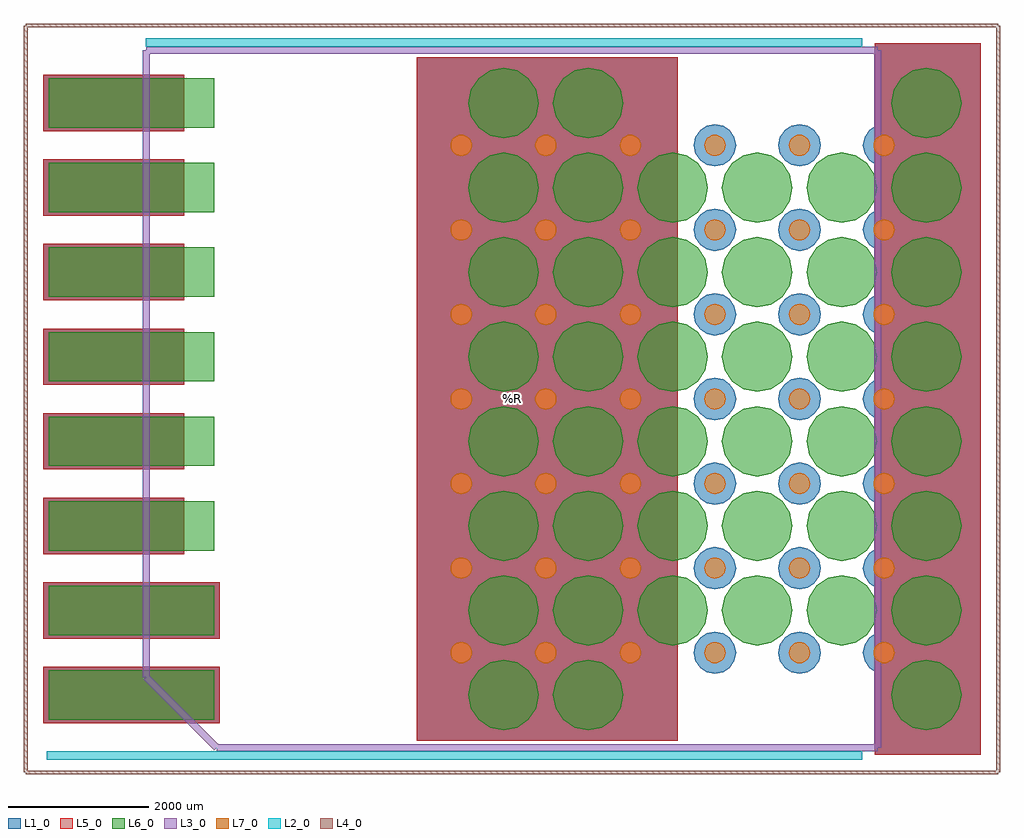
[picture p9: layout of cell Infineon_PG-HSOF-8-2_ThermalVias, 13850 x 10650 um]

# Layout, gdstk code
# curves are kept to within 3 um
import gdstk
lib = gdstk.Library(unit=1e-6, precision=1e-09)
def R(c, l, rs):  # rectangles x0, y0, x1, y1
    for r in rs: c.add(gdstk.rectangle(r[:2], r[2:], *l))
def A(c, l, x, y, w, h, nx, ny, dx, dy):  # array of equal rectangles
    R(c, l, [(x+i*dx, y+j*dy, x+i*dx+w, y+j*dy+h) for i in range(nx) for j in range(ny)])
def P(c, l, *ps):  # polygons
    for p in ps: c.add(gdstk.Polygon(p, *l))
L1_0 = (1, 0)
L2_0 = (2, 0)
L3_0 = (3, 0)
L4_0 = (4, 0)
L5_0 = (5, 0)
L6_0 = (6, 0)
L7_0 = (7, 0)

infineon_pg_hsof_8_2_the = lib.new_cell('Infineon_PG-HSOF-8-2_ThermalVias')
A(infineon_pg_hsof_8_2_the, L1_0, -6650, -2200, 2000, 800, 1, 6, 0, 1200)
R(infineon_pg_hsof_8_2_the, L1_0, [(5150,-5050,6650,5050), (5150,-5050,6650,5050), (-1350,-4850,2350,4850), (-1350,-4850,2350,4850), (-6650,-4600,-4150,-3800), (-6650,-3400,-4150,-2600)])
P(infineon_pg_hsof_8_2_the, L1_0, [(5580,0),(5557,115),(5492,212),(5395,277),(5280,300),(5165,277),(5068,212),(5003,115),(4980,0),(5003,-115),(5068,-212),(5165,-277),(5280,-300),(5395,-277),(5492,-212),(5557,-115)],
  [(4380,0),(4357,115),(4292,212),(4195,277),(4080,300),(3965,277),(3868,212),(3803,115),(3780,0),(3803,-115),(3868,-212),(3965,-277),(4080,-300),(4195,-277),(4292,-212),(4357,-115)],
  [(-420,1200),(-443,1315),(-508,1412),(-605,1477),(-720,1500),(-835,1477),(-932,1412),(-997,1315),(-1020,1200),(-997,1085),(-932,988),(-835,923),(-720,900),(-605,923),(-508,988),(-443,1085)],
  [(1980,1200),(1957,1315),(1892,1412),(1795,1477),(1680,1500),(1565,1477),(1468,1412),(1403,1315),(1380,1200),(1403,1085),(1468,988),(1565,923),(1680,900),(1795,923),(1892,988),(1957,1085)],
  [(780,1200),(757,1315),(692,1412),(595,1477),(480,1500),(365,1477),(268,1412),(203,1315),(180,1200),(203,1085),(268,988),(365,923),(480,900),(595,923),(692,988),(757,1085)],
  [(1980,2400),(1957,2515),(1892,2612),(1795,2677),(1680,2700),(1565,2677),(1468,2612),(1403,2515),(1380,2400),(1403,2285),(1468,2188),(1565,2123),(1680,2100),(1795,2123),(1892,2188),(1957,2285)],
  [(5580,3600),(5557,3715),(5492,3812),(5395,3877),(5280,3900),(5165,3877),(5068,3812),(5003,3715),(4980,3600),(5003,3485),(5068,3388),(5165,3323),(5280,3300),(5395,3323),(5492,3388),(5557,3485)],
  [(4380,1200),(4357,1315),(4292,1412),(4195,1477),(4080,1500),(3965,1477),(3868,1412),(3803,1315),(3780,1200),(3803,1085),(3868,988),(3965,923),(4080,900),(4195,923),(4292,988),(4357,1085)],
  [(3180,2400),(3157,2515),(3092,2612),(2995,2677),(2880,2700),(2765,2677),(2668,2612),(2603,2515),(2580,2400),(2603,2285),(2668,2188),(2765,2123),(2880,2100),(2995,2123),(3092,2188),(3157,2285)],
  [(4380,2400),(4357,2515),(4292,2612),(4195,2677),(4080,2700),(3965,2677),(3868,2612),(3803,2515),(3780,2400),(3803,2285),(3868,2188),(3965,2123),(4080,2100),(4195,2123),(4292,2188),(4357,2285)],
  [(4380,3600),(4357,3715),(4292,3812),(4195,3877),(4080,3900),(3965,3877),(3868,3812),(3803,3715),(3780,3600),(3803,3485),(3868,3388),(3965,3323),(4080,3300),(4195,3323),(4292,3388),(4357,3485)],
  [(3180,1200),(3157,1315),(3092,1412),(2995,1477),(2880,1500),(2765,1477),(2668,1412),(2603,1315),(2580,1200),(2603,1085),(2668,988),(2765,923),(2880,900),(2995,923),(3092,988),(3157,1085)],
  [(3180,3600),(3157,3715),(3092,3812),(2995,3877),(2880,3900),(2765,3877),(2668,3812),(2603,3715),(2580,3600),(2603,3485),(2668,3388),(2765,3323),(2880,3300),(2995,3323),(3092,3388),(3157,3485)],
  [(5580,2400),(5557,2515),(5492,2612),(5395,2677),(5280,2700),(5165,2677),(5068,2612),(5003,2515),(4980,2400),(5003,2285),(5068,2188),(5165,2123),(5280,2100),(5395,2123),(5492,2188),(5557,2285)],
  [(5580,1200),(5557,1315),(5492,1412),(5395,1477),(5280,1500),(5165,1477),(5068,1412),(5003,1315),(4980,1200),(5003,1085),(5068,988),(5165,923),(5280,900),(5395,923),(5492,988),(5557,1085)],
  [(-420,3600),(-443,3715),(-508,3812),(-605,3877),(-720,3900),(-835,3877),(-932,3812),(-997,3715),(-1020,3600),(-997,3485),(-932,3388),(-835,3323),(-720,3300),(-605,3323),(-508,3388),(-443,3485)],
  [(-420,2400),(-443,2515),(-508,2612),(-605,2677),(-720,2700),(-835,2677),(-932,2612),(-997,2515),(-1020,2400),(-997,2285),(-932,2188),(-835,2123),(-720,2100),(-605,2123),(-508,2188),(-443,2285)],
  [(780,2400),(757,2515),(692,2612),(595,2677),(480,2700),(365,2677),(268,2612),(203,2515),(180,2400),(203,2285),(268,2188),(365,2123),(480,2100),(595,2123),(692,2188),(757,2285)],
  [(780,3600),(757,3715),(692,3812),(595,3877),(480,3900),(365,3877),(268,3812),(203,3715),(180,3600),(203,3485),(268,3388),(365,3323),(480,3300),(595,3323),(692,3388),(757,3485)],
  [(1980,3600),(1957,3715),(1892,3812),(1795,3877),(1680,3900),(1565,3877),(1468,3812),(1403,3715),(1380,3600),(1403,3485),(1468,3388),(1565,3323),(1680,3300),(1795,3323),(1892,3388),(1957,3485)],
  [(3180,0),(3157,115),(3092,212),(2995,277),(2880,300),(2765,277),(2668,212),(2603,115),(2580,0),(2603,-115),(2668,-212),(2765,-277),(2880,-300),(2995,-277),(3092,-212),(3157,-115)],
  [(1980,0),(1957,115),(1892,212),(1795,277),(1680,300),(1565,277),(1468,212),(1403,115),(1380,0),(1403,-115),(1468,-212),(1565,-277),(1680,-300),(1795,-277),(1892,-212),(1957,-115)],
  [(-420,0),(-443,115),(-508,212),(-605,277),(-720,300),(-835,277),(-932,212),(-997,115),(-1020,0),(-997,-115),(-932,-212),(-835,-277),(-720,-300),(-605,-277),(-508,-212),(-443,-115)],
  [(780,0),(757,115),(692,212),(595,277),(480,300),(365,277),(268,212),(203,115),(180,0),(203,-115),(268,-212),(365,-277),(480,-300),(595,-277),(692,-212),(757,-115)],
  [(4380,-1200),(4357,-1085),(4292,-988),(4195,-923),(4080,-900),(3965,-923),(3868,-988),(3803,-1085),(3780,-1200),(3803,-1315),(3868,-1412),(3965,-1477),(4080,-1500),(4195,-1477),(4292,-1412),(4357,-1315)],
  [(5580,-1200),(5557,-1085),(5492,-988),(5395,-923),(5280,-900),(5165,-923),(5068,-988),(5003,-1085),(4980,-1200),(5003,-1315),(5068,-1412),(5165,-1477),(5280,-1500),(5395,-1477),(5492,-1412),(5557,-1315)],
  [(1980,-1200),(1957,-1085),(1892,-988),(1795,-923),(1680,-900),(1565,-923),(1468,-988),(1403,-1085),(1380,-1200),(1403,-1315),(1468,-1412),(1565,-1477),(1680,-1500),(1795,-1477),(1892,-1412),(1957,-1315)],
  [(3180,-1200),(3157,-1085),(3092,-988),(2995,-923),(2880,-900),(2765,-923),(2668,-988),(2603,-1085),(2580,-1200),(2603,-1315),(2668,-1412),(2765,-1477),(2880,-1500),(2995,-1477),(3092,-1412),(3157,-1315)],
  [(780,-1200),(757,-1085),(692,-988),(595,-923),(480,-900),(365,-923),(268,-988),(203,-1085),(180,-1200),(203,-1315),(268,-1412),(365,-1477),(480,-1500),(595,-1477),(692,-1412),(757,-1315)],
  [(-420,-1200),(-443,-1085),(-508,-988),(-605,-923),(-720,-900),(-835,-923),(-932,-988),(-997,-1085),(-1020,-1200),(-997,-1315),(-932,-1412),(-835,-1477),(-720,-1500),(-605,-1477),(-508,-1412),(-443,-1315)],
  [(780,-2400),(757,-2285),(692,-2188),(595,-2123),(480,-2100),(365,-2123),(268,-2188),(203,-2285),(180,-2400),(203,-2515),(268,-2612),(365,-2677),(480,-2700),(595,-2677),(692,-2612),(757,-2515)],
  [(-420,-2400),(-443,-2285),(-508,-2188),(-605,-2123),(-720,-2100),(-835,-2123),(-932,-2188),(-997,-2285),(-1020,-2400),(-997,-2515),(-932,-2612),(-835,-2677),(-720,-2700),(-605,-2677),(-508,-2612),(-443,-2515)],
  [(1980,-2400),(1957,-2285),(1892,-2188),(1795,-2123),(1680,-2100),(1565,-2123),(1468,-2188),(1403,-2285),(1380,-2400),(1403,-2515),(1468,-2612),(1565,-2677),(1680,-2700),(1795,-2677),(1892,-2612),(1957,-2515)],
  [(3180,-2400),(3157,-2285),(3092,-2188),(2995,-2123),(2880,-2100),(2765,-2123),(2668,-2188),(2603,-2285),(2580,-2400),(2603,-2515),(2668,-2612),(2765,-2677),(2880,-2700),(2995,-2677),(3092,-2612),(3157,-2515)],
  [(4380,-2400),(4357,-2285),(4292,-2188),(4195,-2123),(4080,-2100),(3965,-2123),(3868,-2188),(3803,-2285),(3780,-2400),(3803,-2515),(3868,-2612),(3965,-2677),(4080,-2700),(4195,-2677),(4292,-2612),(4357,-2515)],
  [(5580,-2400),(5557,-2285),(5492,-2188),(5395,-2123),(5280,-2100),(5165,-2123),(5068,-2188),(5003,-2285),(4980,-2400),(5003,-2515),(5068,-2612),(5165,-2677),(5280,-2700),(5395,-2677),(5492,-2612),(5557,-2515)],
  [(1980,-3600),(1957,-3485),(1892,-3388),(1795,-3323),(1680,-3300),(1565,-3323),(1468,-3388),(1403,-3485),(1380,-3600),(1403,-3715),(1468,-3812),(1565,-3877),(1680,-3900),(1795,-3877),(1892,-3812),(1957,-3715)],
  [(-420,-3600),(-443,-3485),(-508,-3388),(-605,-3323),(-720,-3300),(-835,-3323),(-932,-3388),(-997,-3485),(-1020,-3600),(-997,-3715),(-932,-3812),(-835,-3877),(-720,-3900),(-605,-3877),(-508,-3812),(-443,-3715)],
  [(780,-3600),(757,-3485),(692,-3388),(595,-3323),(480,-3300),(365,-3323),(268,-3388),(203,-3485),(180,-3600),(203,-3715),(268,-3812),(365,-3877),(480,-3900),(595,-3877),(692,-3812),(757,-3715)],
  [(3180,-3600),(3157,-3485),(3092,-3388),(2995,-3323),(2880,-3300),(2765,-3323),(2668,-3388),(2603,-3485),(2580,-3600),(2603,-3715),(2668,-3812),(2765,-3877),(2880,-3900),(2995,-3877),(3092,-3812),(3157,-3715)],
  [(5580,-3600),(5557,-3485),(5492,-3388),(5395,-3323),(5280,-3300),(5165,-3323),(5068,-3388),(5003,-3485),(4980,-3600),(5003,-3715),(5068,-3812),(5165,-3877),(5280,-3900),(5395,-3877),(5492,-3812),(5557,-3715)],
  [(4380,-3600),(4357,-3485),(4292,-3388),(4195,-3323),(4080,-3300),(3965,-3323),(3868,-3388),(3803,-3485),(3780,-3600),(3803,-3715),(3868,-3812),(3965,-3877),(4080,-3900),(4195,-3877),(4292,-3812),(4357,-3715)])
A(infineon_pg_hsof_8_2_the, L5_0, -6650, -2200, 2000, 800, 1, 6, 0, 1200)
R(infineon_pg_hsof_8_2_the, L5_0, [(5150,-5050,6650,5050), (-1350,-4850,2350,4850), (-6650,-4600,-4150,-3800), (-6650,-3400,-4150,-2600)])
A(infineon_pg_hsof_8_2_the, L6_0, -6575, -4550, 2350, 700, 1, 8, 0, 1200)
P(infineon_pg_hsof_8_2_the, L6_0, [(380,-4200),(342,-4009),(234,-3846),(71,-3738),(-120,-3700),(-311,-3738),(-474,-3846),(-582,-4009),(-620,-4200),(-582,-4391),(-474,-4554),(-311,-4662),(-120,-4700),(71,-4662),(234,-4554),(342,-4391)],
  [(1580,-4200),(1542,-4009),(1434,-3846),(1271,-3738),(1080,-3700),(889,-3738),(726,-3846),(618,-4009),(580,-4200),(618,-4391),(726,-4554),(889,-4662),(1080,-4700),(1271,-4662),(1434,-4554),(1542,-4391)],
  [(6380,-4200),(6342,-4009),(6234,-3846),(6071,-3738),(5880,-3700),(5689,-3738),(5526,-3846),(5418,-4009),(5380,-4200),(5418,-4391),(5526,-4554),(5689,-4662),(5880,-4700),(6071,-4662),(6234,-4554),(6342,-4391)],
  [(380,-3000),(342,-2809),(234,-2646),(71,-2538),(-120,-2500),(-311,-2538),(-474,-2646),(-582,-2809),(-620,-3000),(-582,-3191),(-474,-3354),(-311,-3462),(-120,-3500),(71,-3462),(234,-3354),(342,-3191)],
  [(1580,-3000),(1542,-2809),(1434,-2646),(1271,-2538),(1080,-2500),(889,-2538),(726,-2646),(618,-2809),(580,-3000),(618,-3191),(726,-3354),(889,-3462),(1080,-3500),(1271,-3462),(1434,-3354),(1542,-3191)],
  [(2780,-3000),(2742,-2809),(2634,-2646),(2471,-2538),(2280,-2500),(2089,-2538),(1926,-2646),(1818,-2809),(1780,-3000),(1818,-3191),(1926,-3354),(2089,-3462),(2280,-3500),(2471,-3462),(2634,-3354),(2742,-3191)],
  [(3980,-3000),(3942,-2809),(3834,-2646),(3671,-2538),(3480,-2500),(3289,-2538),(3126,-2646),(3018,-2809),(2980,-3000),(3018,-3191),(3126,-3354),(3289,-3462),(3480,-3500),(3671,-3462),(3834,-3354),(3942,-3191)],
  [(5180,-3000),(5142,-2809),(5034,-2646),(4871,-2538),(4680,-2500),(4489,-2538),(4326,-2646),(4218,-2809),(4180,-3000),(4218,-3191),(4326,-3354),(4489,-3462),(4680,-3500),(4871,-3462),(5034,-3354),(5142,-3191)],
  [(6380,-3000),(6342,-2809),(6234,-2646),(6071,-2538),(5880,-2500),(5689,-2538),(5526,-2646),(5418,-2809),(5380,-3000),(5418,-3191),(5526,-3354),(5689,-3462),(5880,-3500),(6071,-3462),(6234,-3354),(6342,-3191)],
  [(380,-1800),(342,-1609),(234,-1446),(71,-1338),(-120,-1300),(-311,-1338),(-474,-1446),(-582,-1609),(-620,-1800),(-582,-1991),(-474,-2154),(-311,-2262),(-120,-2300),(71,-2262),(234,-2154),(342,-1991)],
  [(1580,-1800),(1542,-1609),(1434,-1446),(1271,-1338),(1080,-1300),(889,-1338),(726,-1446),(618,-1609),(580,-1800),(618,-1991),(726,-2154),(889,-2262),(1080,-2300),(1271,-2262),(1434,-2154),(1542,-1991)],
  [(2780,-1800),(2742,-1609),(2634,-1446),(2471,-1338),(2280,-1300),(2089,-1338),(1926,-1446),(1818,-1609),(1780,-1800),(1818,-1991),(1926,-2154),(2089,-2262),(2280,-2300),(2471,-2262),(2634,-2154),(2742,-1991)],
  [(3980,-1800),(3942,-1609),(3834,-1446),(3671,-1338),(3480,-1300),(3289,-1338),(3126,-1446),(3018,-1609),(2980,-1800),(3018,-1991),(3126,-2154),(3289,-2262),(3480,-2300),(3671,-2262),(3834,-2154),(3942,-1991)],
  [(5180,-1800),(5142,-1609),(5034,-1446),(4871,-1338),(4680,-1300),(4489,-1338),(4326,-1446),(4218,-1609),(4180,-1800),(4218,-1991),(4326,-2154),(4489,-2262),(4680,-2300),(4871,-2262),(5034,-2154),(5142,-1991)],
  [(6380,-1800),(6342,-1609),(6234,-1446),(6071,-1338),(5880,-1300),(5689,-1338),(5526,-1446),(5418,-1609),(5380,-1800),(5418,-1991),(5526,-2154),(5689,-2262),(5880,-2300),(6071,-2262),(6234,-2154),(6342,-1991)],
  [(380,-600),(342,-409),(234,-246),(71,-138),(-120,-100),(-311,-138),(-474,-246),(-582,-409),(-620,-600),(-582,-791),(-474,-954),(-311,-1062),(-120,-1100),(71,-1062),(234,-954),(342,-791)],
  [(1580,-600),(1542,-409),(1434,-246),(1271,-138),(1080,-100),(889,-138),(726,-246),(618,-409),(580,-600),(618,-791),(726,-954),(889,-1062),(1080,-1100),(1271,-1062),(1434,-954),(1542,-791)],
  [(2780,-600),(2742,-409),(2634,-246),(2471,-138),(2280,-100),(2089,-138),(1926,-246),(1818,-409),(1780,-600),(1818,-791),(1926,-954),(2089,-1062),(2280,-1100),(2471,-1062),(2634,-954),(2742,-791)],
  [(3980,-600),(3942,-409),(3834,-246),(3671,-138),(3480,-100),(3289,-138),(3126,-246),(3018,-409),(2980,-600),(3018,-791),(3126,-954),(3289,-1062),(3480,-1100),(3671,-1062),(3834,-954),(3942,-791)],
  [(5180,-600),(5142,-409),(5034,-246),(4871,-138),(4680,-100),(4489,-138),(4326,-246),(4218,-409),(4180,-600),(4218,-791),(4326,-954),(4489,-1062),(4680,-1100),(4871,-1062),(5034,-954),(5142,-791)],
  [(6380,-600),(6342,-409),(6234,-246),(6071,-138),(5880,-100),(5689,-138),(5526,-246),(5418,-409),(5380,-600),(5418,-791),(5526,-954),(5689,-1062),(5880,-1100),(6071,-1062),(6234,-954),(6342,-791)],
  [(380,600),(342,791),(234,954),(71,1062),(-120,1100),(-311,1062),(-474,954),(-582,791),(-620,600),(-582,409),(-474,246),(-311,138),(-120,100),(71,138),(234,246),(342,409)],
  [(1580,600),(1542,791),(1434,954),(1271,1062),(1080,1100),(889,1062),(726,954),(618,791),(580,600),(618,409),(726,246),(889,138),(1080,100),(1271,138),(1434,246),(1542,409)],
  [(2780,600),(2742,791),(2634,954),(2471,1062),(2280,1100),(2089,1062),(1926,954),(1818,791),(1780,600),(1818,409),(1926,246),(2089,138),(2280,100),(2471,138),(2634,246),(2742,409)],
  [(3980,600),(3942,791),(3834,954),(3671,1062),(3480,1100),(3289,1062),(3126,954),(3018,791),(2980,600),(3018,409),(3126,246),(3289,138),(3480,100),(3671,138),(3834,246),(3942,409)],
  [(5180,600),(5142,791),(5034,954),(4871,1062),(4680,1100),(4489,1062),(4326,954),(4218,791),(4180,600),(4218,409),(4326,246),(4489,138),(4680,100),(4871,138),(5034,246),(5142,409)],
  [(6380,600),(6342,791),(6234,954),(6071,1062),(5880,1100),(5689,1062),(5526,954),(5418,791),(5380,600),(5418,409),(5526,246),(5689,138),(5880,100),(6071,138),(6234,246),(6342,409)],
  [(380,1800),(342,1991),(234,2154),(71,2262),(-120,2300),(-311,2262),(-474,2154),(-582,1991),(-620,1800),(-582,1609),(-474,1446),(-311,1338),(-120,1300),(71,1338),(234,1446),(342,1609)],
  [(1580,1800),(1542,1991),(1434,2154),(1271,2262),(1080,2300),(889,2262),(726,2154),(618,1991),(580,1800),(618,1609),(726,1446),(889,1338),(1080,1300),(1271,1338),(1434,1446),(1542,1609)],
  [(2780,1800),(2742,1991),(2634,2154),(2471,2262),(2280,2300),(2089,2262),(1926,2154),(1818,1991),(1780,1800),(1818,1609),(1926,1446),(2089,1338),(2280,1300),(2471,1338),(2634,1446),(2742,1609)],
  [(3980,1800),(3942,1991),(3834,2154),(3671,2262),(3480,2300),(3289,2262),(3126,2154),(3018,1991),(2980,1800),(3018,1609),(3126,1446),(3289,1338),(3480,1300),(3671,1338),(3834,1446),(3942,1609)],
  [(5180,1800),(5142,1991),(5034,2154),(4871,2262),(4680,2300),(4489,2262),(4326,2154),(4218,1991),(4180,1800),(4218,1609),(4326,1446),(4489,1338),(4680,1300),(4871,1338),(5034,1446),(5142,1609)],
  [(6380,1800),(6342,1991),(6234,2154),(6071,2262),(5880,2300),(5689,2262),(5526,2154),(5418,1991),(5380,1800),(5418,1609),(5526,1446),(5689,1338),(5880,1300),(6071,1338),(6234,1446),(6342,1609)],
  [(380,3000),(342,3191),(234,3354),(71,3462),(-120,3500),(-311,3462),(-474,3354),(-582,3191),(-620,3000),(-582,2809),(-474,2646),(-311,2538),(-120,2500),(71,2538),(234,2646),(342,2809)],
  [(1580,3000),(1542,3191),(1434,3354),(1271,3462),(1080,3500),(889,3462),(726,3354),(618,3191),(580,3000),(618,2809),(726,2646),(889,2538),(1080,2500),(1271,2538),(1434,2646),(1542,2809)],
  [(2780,3000),(2742,3191),(2634,3354),(2471,3462),(2280,3500),(2089,3462),(1926,3354),(1818,3191),(1780,3000),(1818,2809),(1926,2646),(2089,2538),(2280,2500),(2471,2538),(2634,2646),(2742,2809)],
  [(3980,3000),(3942,3191),(3834,3354),(3671,3462),(3480,3500),(3289,3462),(3126,3354),(3018,3191),(2980,3000),(3018,2809),(3126,2646),(3289,2538),(3480,2500),(3671,2538),(3834,2646),(3942,2809)],
  [(5180,3000),(5142,3191),(5034,3354),(4871,3462),(4680,3500),(4489,3462),(4326,3354),(4218,3191),(4180,3000),(4218,2809),(4326,2646),(4489,2538),(4680,2500),(4871,2538),(5034,2646),(5142,2809)],
  [(6380,3000),(6342,3191),(6234,3354),(6071,3462),(5880,3500),(5689,3462),(5526,3354),(5418,3191),(5380,3000),(5418,2809),(5526,2646),(5689,2538),(5880,2500),(6071,2538),(6234,2646),(6342,2809)],
  [(380,4200),(342,4391),(234,4554),(71,4662),(-120,4700),(-311,4662),(-474,4554),(-582,4391),(-620,4200),(-582,4009),(-474,3846),(-311,3738),(-120,3700),(71,3738),(234,3846),(342,4009)],
  [(1580,4200),(1542,4391),(1434,4554),(1271,4662),(1080,4700),(889,4662),(726,4554),(618,4391),(580,4200),(618,4009),(726,3846),(889,3738),(1080,3700),(1271,3738),(1434,3846),(1542,4009)],
  [(6380,4200),(6342,4391),(6234,4554),(6071,4662),(5880,4700),(5689,4662),(5526,4554),(5418,4391),(5380,4200),(5418,4009),(5526,3846),(5689,3738),(5880,3700),(6071,3738),(6234,3846),(6342,4009)])
P(infineon_pg_hsof_8_2_the, L7_0, [(5430,0),(5419,57),(5386,106),(5337,139),(5280,150),(5223,139),(5174,106),(5141,57),(5130,0),(5141,-57),(5174,-106),(5223,-139),(5280,-150),(5337,-139),(5386,-106),(5419,-57)],
  [(4230,0),(4219,57),(4186,106),(4137,139),(4080,150),(4023,139),(3974,106),(3941,57),(3930,0),(3941,-57),(3974,-106),(4023,-139),(4080,-150),(4137,-139),(4186,-106),(4219,-57)],
  [(-570,1200),(-581,1257),(-614,1306),(-663,1339),(-720,1350),(-777,1339),(-826,1306),(-859,1257),(-870,1200),(-859,1143),(-826,1094),(-777,1061),(-720,1050),(-663,1061),(-614,1094),(-581,1143)],
  [(1830,1200),(1819,1257),(1786,1306),(1737,1339),(1680,1350),(1623,1339),(1574,1306),(1541,1257),(1530,1200),(1541,1143),(1574,1094),(1623,1061),(1680,1050),(1737,1061),(1786,1094),(1819,1143)],
  [(630,1200),(619,1257),(586,1306),(537,1339),(480,1350),(423,1339),(374,1306),(341,1257),(330,1200),(341,1143),(374,1094),(423,1061),(480,1050),(537,1061),(586,1094),(619,1143)],
  [(1830,2400),(1819,2457),(1786,2506),(1737,2539),(1680,2550),(1623,2539),(1574,2506),(1541,2457),(1530,2400),(1541,2343),(1574,2294),(1623,2261),(1680,2250),(1737,2261),(1786,2294),(1819,2343)],
  [(5430,3600),(5419,3657),(5386,3706),(5337,3739),(5280,3750),(5223,3739),(5174,3706),(5141,3657),(5130,3600),(5141,3543),(5174,3494),(5223,3461),(5280,3450),(5337,3461),(5386,3494),(5419,3543)],
  [(4230,1200),(4219,1257),(4186,1306),(4137,1339),(4080,1350),(4023,1339),(3974,1306),(3941,1257),(3930,1200),(3941,1143),(3974,1094),(4023,1061),(4080,1050),(4137,1061),(4186,1094),(4219,1143)],
  [(3030,2400),(3019,2457),(2986,2506),(2937,2539),(2880,2550),(2823,2539),(2774,2506),(2741,2457),(2730,2400),(2741,2343),(2774,2294),(2823,2261),(2880,2250),(2937,2261),(2986,2294),(3019,2343)],
  [(4230,2400),(4219,2457),(4186,2506),(4137,2539),(4080,2550),(4023,2539),(3974,2506),(3941,2457),(3930,2400),(3941,2343),(3974,2294),(4023,2261),(4080,2250),(4137,2261),(4186,2294),(4219,2343)],
  [(4230,3600),(4219,3657),(4186,3706),(4137,3739),(4080,3750),(4023,3739),(3974,3706),(3941,3657),(3930,3600),(3941,3543),(3974,3494),(4023,3461),(4080,3450),(4137,3461),(4186,3494),(4219,3543)],
  [(3030,1200),(3019,1257),(2986,1306),(2937,1339),(2880,1350),(2823,1339),(2774,1306),(2741,1257),(2730,1200),(2741,1143),(2774,1094),(2823,1061),(2880,1050),(2937,1061),(2986,1094),(3019,1143)],
  [(3030,3600),(3019,3657),(2986,3706),(2937,3739),(2880,3750),(2823,3739),(2774,3706),(2741,3657),(2730,3600),(2741,3543),(2774,3494),(2823,3461),(2880,3450),(2937,3461),(2986,3494),(3019,3543)],
  [(5430,2400),(5419,2457),(5386,2506),(5337,2539),(5280,2550),(5223,2539),(5174,2506),(5141,2457),(5130,2400),(5141,2343),(5174,2294),(5223,2261),(5280,2250),(5337,2261),(5386,2294),(5419,2343)],
  [(5430,1200),(5419,1257),(5386,1306),(5337,1339),(5280,1350),(5223,1339),(5174,1306),(5141,1257),(5130,1200),(5141,1143),(5174,1094),(5223,1061),(5280,1050),(5337,1061),(5386,1094),(5419,1143)],
  [(-570,3600),(-581,3657),(-614,3706),(-663,3739),(-720,3750),(-777,3739),(-826,3706),(-859,3657),(-870,3600),(-859,3543),(-826,3494),(-777,3461),(-720,3450),(-663,3461),(-614,3494),(-581,3543)],
  [(-570,2400),(-581,2457),(-614,2506),(-663,2539),(-720,2550),(-777,2539),(-826,2506),(-859,2457),(-870,2400),(-859,2343),(-826,2294),(-777,2261),(-720,2250),(-663,2261),(-614,2294),(-581,2343)],
  [(630,2400),(619,2457),(586,2506),(537,2539),(480,2550),(423,2539),(374,2506),(341,2457),(330,2400),(341,2343),(374,2294),(423,2261),(480,2250),(537,2261),(586,2294),(619,2343)],
  [(630,3600),(619,3657),(586,3706),(537,3739),(480,3750),(423,3739),(374,3706),(341,3657),(330,3600),(341,3543),(374,3494),(423,3461),(480,3450),(537,3461),(586,3494),(619,3543)],
  [(1830,3600),(1819,3657),(1786,3706),(1737,3739),(1680,3750),(1623,3739),(1574,3706),(1541,3657),(1530,3600),(1541,3543),(1574,3494),(1623,3461),(1680,3450),(1737,3461),(1786,3494),(1819,3543)],
  [(3030,0),(3019,57),(2986,106),(2937,139),(2880,150),(2823,139),(2774,106),(2741,57),(2730,0),(2741,-57),(2774,-106),(2823,-139),(2880,-150),(2937,-139),(2986,-106),(3019,-57)],
  [(1830,0),(1819,57),(1786,106),(1737,139),(1680,150),(1623,139),(1574,106),(1541,57),(1530,0),(1541,-57),(1574,-106),(1623,-139),(1680,-150),(1737,-139),(1786,-106),(1819,-57)],
  [(-570,0),(-581,57),(-614,106),(-663,139),(-720,150),(-777,139),(-826,106),(-859,57),(-870,0),(-859,-57),(-826,-106),(-777,-139),(-720,-150),(-663,-139),(-614,-106),(-581,-57)],
  [(630,0),(619,57),(586,106),(537,139),(480,150),(423,139),(374,106),(341,57),(330,0),(341,-57),(374,-106),(423,-139),(480,-150),(537,-139),(586,-106),(619,-57)],
  [(4230,-1200),(4219,-1143),(4186,-1094),(4137,-1061),(4080,-1050),(4023,-1061),(3974,-1094),(3941,-1143),(3930,-1200),(3941,-1257),(3974,-1306),(4023,-1339),(4080,-1350),(4137,-1339),(4186,-1306),(4219,-1257)],
  [(5430,-1200),(5419,-1143),(5386,-1094),(5337,-1061),(5280,-1050),(5223,-1061),(5174,-1094),(5141,-1143),(5130,-1200),(5141,-1257),(5174,-1306),(5223,-1339),(5280,-1350),(5337,-1339),(5386,-1306),(5419,-1257)],
  [(1830,-1200),(1819,-1143),(1786,-1094),(1737,-1061),(1680,-1050),(1623,-1061),(1574,-1094),(1541,-1143),(1530,-1200),(1541,-1257),(1574,-1306),(1623,-1339),(1680,-1350),(1737,-1339),(1786,-1306),(1819,-1257)],
  [(3030,-1200),(3019,-1143),(2986,-1094),(2937,-1061),(2880,-1050),(2823,-1061),(2774,-1094),(2741,-1143),(2730,-1200),(2741,-1257),(2774,-1306),(2823,-1339),(2880,-1350),(2937,-1339),(2986,-1306),(3019,-1257)],
  [(630,-1200),(619,-1143),(586,-1094),(537,-1061),(480,-1050),(423,-1061),(374,-1094),(341,-1143),(330,-1200),(341,-1257),(374,-1306),(423,-1339),(480,-1350),(537,-1339),(586,-1306),(619,-1257)],
  [(-570,-1200),(-581,-1143),(-614,-1094),(-663,-1061),(-720,-1050),(-777,-1061),(-826,-1094),(-859,-1143),(-870,-1200),(-859,-1257),(-826,-1306),(-777,-1339),(-720,-1350),(-663,-1339),(-614,-1306),(-581,-1257)],
  [(630,-2400),(619,-2343),(586,-2294),(537,-2261),(480,-2250),(423,-2261),(374,-2294),(341,-2343),(330,-2400),(341,-2457),(374,-2506),(423,-2539),(480,-2550),(537,-2539),(586,-2506),(619,-2457)],
  [(-570,-2400),(-581,-2343),(-614,-2294),(-663,-2261),(-720,-2250),(-777,-2261),(-826,-2294),(-859,-2343),(-870,-2400),(-859,-2457),(-826,-2506),(-777,-2539),(-720,-2550),(-663,-2539),(-614,-2506),(-581,-2457)],
  [(1830,-2400),(1819,-2343),(1786,-2294),(1737,-2261),(1680,-2250),(1623,-2261),(1574,-2294),(1541,-2343),(1530,-2400),(1541,-2457),(1574,-2506),(1623,-2539),(1680,-2550),(1737,-2539),(1786,-2506),(1819,-2457)],
  [(3030,-2400),(3019,-2343),(2986,-2294),(2937,-2261),(2880,-2250),(2823,-2261),(2774,-2294),(2741,-2343),(2730,-2400),(2741,-2457),(2774,-2506),(2823,-2539),(2880,-2550),(2937,-2539),(2986,-2506),(3019,-2457)],
  [(4230,-2400),(4219,-2343),(4186,-2294),(4137,-2261),(4080,-2250),(4023,-2261),(3974,-2294),(3941,-2343),(3930,-2400),(3941,-2457),(3974,-2506),(4023,-2539),(4080,-2550),(4137,-2539),(4186,-2506),(4219,-2457)],
  [(5430,-2400),(5419,-2343),(5386,-2294),(5337,-2261),(5280,-2250),(5223,-2261),(5174,-2294),(5141,-2343),(5130,-2400),(5141,-2457),(5174,-2506),(5223,-2539),(5280,-2550),(5337,-2539),(5386,-2506),(5419,-2457)],
  [(1830,-3600),(1819,-3543),(1786,-3494),(1737,-3461),(1680,-3450),(1623,-3461),(1574,-3494),(1541,-3543),(1530,-3600),(1541,-3657),(1574,-3706),(1623,-3739),(1680,-3750),(1737,-3739),(1786,-3706),(1819,-3657)],
  [(-570,-3600),(-581,-3543),(-614,-3494),(-663,-3461),(-720,-3450),(-777,-3461),(-826,-3494),(-859,-3543),(-870,-3600),(-859,-3657),(-826,-3706),(-777,-3739),(-720,-3750),(-663,-3739),(-614,-3706),(-581,-3657)],
  [(630,-3600),(619,-3543),(586,-3494),(537,-3461),(480,-3450),(423,-3461),(374,-3494),(341,-3543),(330,-3600),(341,-3657),(374,-3706),(423,-3739),(480,-3750),(537,-3739),(586,-3706),(619,-3657)],
  [(3030,-3600),(3019,-3543),(2986,-3494),(2937,-3461),(2880,-3450),(2823,-3461),(2774,-3494),(2741,-3543),(2730,-3600),(2741,-3657),(2774,-3706),(2823,-3739),(2880,-3750),(2937,-3739),(2986,-3706),(3019,-3657)],
  [(5430,-3600),(5419,-3543),(5386,-3494),(5337,-3461),(5280,-3450),(5223,-3461),(5174,-3494),(5141,-3543),(5130,-3600),(5141,-3657),(5174,-3706),(5223,-3739),(5280,-3750),(5337,-3739),(5386,-3706),(5419,-3657)],
  [(4230,-3600),(4219,-3543),(4186,-3494),(4137,-3461),(4080,-3450),(4023,-3461),(3974,-3494),(3941,-3543),(3930,-3600),(3941,-3657),(3974,-3706),(4023,-3739),(4080,-3750),(4137,-3739),(4186,-3706),(4219,-3657)])
infineon_pg_hsof_8_2_the.add(gdstk.FlexPath([(-4188,-4950),(-5188,-3950)], 100, ends="flush", simple_path=True, layer=3, datatype=0))  # L3_0
infineon_pg_hsof_8_2_the.add(gdstk.FlexPath([(6900,-5300),(6900,5300)], 50, ends="flush", simple_path=True, layer=4, datatype=0))  # L4_0
infineon_pg_hsof_8_2_the.add(gdstk.FlexPath([(-6900,5300),(-6900,-5300)], 50, ends="flush", simple_path=True, layer=4, datatype=0))  # L4_0
infineon_pg_hsof_8_2_the.add(gdstk.FlexPath([(-6900,5300),(6900,5300)], 50, ends="flush", simple_path=True, layer=4, datatype=0))  # L4_0
infineon_pg_hsof_8_2_the.add(gdstk.FlexPath([(6900,-5300),(-6900,-5300)], 50, ends="flush", simple_path=True, layer=4, datatype=0))  # L4_0
infineon_pg_hsof_8_2_the.add(gdstk.FlexPath([(-5200,5060),(4970,5060)], 120, ends="flush", simple_path=True, layer=2, datatype=0))  # L2_0
infineon_pg_hsof_8_2_the.add(gdstk.FlexPath([(4970,-5060),(-6600,-5060)], 120, ends="flush", simple_path=True, layer=2, datatype=0))  # L2_0
infineon_pg_hsof_8_2_the.add(gdstk.FlexPath([(5188,-4950),(5188,4950)], 100, ends="flush", simple_path=True, layer=3, datatype=0))  # L3_0
infineon_pg_hsof_8_2_the.add(gdstk.FlexPath([(5188,4950),(-5188,4950)], 100, ends="flush", simple_path=True, layer=3, datatype=0))  # L3_0
infineon_pg_hsof_8_2_the.add(gdstk.FlexPath([(-5188,4950),(-5188,-3950)], 100, ends="flush", simple_path=True, layer=3, datatype=0))  # L3_0
infineon_pg_hsof_8_2_the.add(gdstk.FlexPath([(-4188,-4950),(5188,-4950)], 100, ends="flush", simple_path=True, layer=3, datatype=0))  # L3_0
infineon_pg_hsof_8_2_the.add(gdstk.Label('REF**', (0,-6000), layer=2, texttype=0))
infineon_pg_hsof_8_2_the.add(gdstk.Label('Infineon_PG-HSOF-8-2_ThermalVias', (0,6000), layer=3, texttype=0))
infineon_pg_hsof_8_2_the.add(gdstk.Label('%R', (0,0), layer=3, texttype=0))

lib.write_gds('Infineon_PG-HSOF-8-2_ThermalVias.gds')
